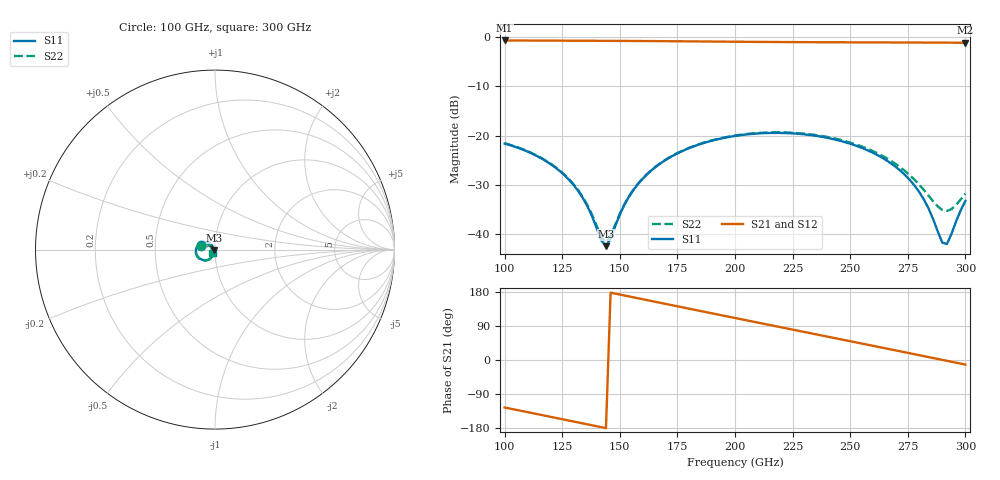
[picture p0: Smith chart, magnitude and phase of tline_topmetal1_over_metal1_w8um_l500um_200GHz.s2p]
#  GHZ S DB R 50
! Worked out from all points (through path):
!   101 points, 100 GHz to 300 GHz, reference 50 ohm
!   highest |S21| = -0.65 dB at 100 GHz (marker M1); lowest = -1.1 dB at 300 GHz (marker M2)
!   group delay of S21, straight-line fit = 3.42 ps
!   lowest |S11| = -42.4 dB at 144 GHz (marker M3), VSWR 1.02, Z = 49.3 - j0.189 ohm
!   |S11| at or under -10 dB: start of sweep to end of sweep
!   |S22| runs from -41.7 to -19.3 dB; largest |S21 - S12| = 1.1e-14
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100  -21.60 163.3  -0.65 -125.3  -0.65 -125.3  -21.53 164.5
120  -25.79 140.7  -0.68 -150.0  -0.68 -150.0  -25.70 142.5
128  -28.98 134.3  -0.70 -159.9  -0.70 -159.9  -28.86 136.5
134  -32.70 133.5  -0.71 -167.4  -0.71 -167.4  -32.52 136.2
142  -41.32 165.7  -0.72 -177.3  -0.72 -177.3  -40.64 168.2
144  -42.45 -165.3  -0.73 -179.8  -0.73 -179.8  -41.69 -165.1
146  -40.93 -137.7  -0.73 177.7  -0.73 177.7  -40.43 -139.1
150  -36.02 -114.2  -0.74 172.7  -0.74 172.7  -35.86 -114.9
154  -32.38 -109.0  -0.75 167.8  -0.75 167.8  -32.30 -108.9
160  -28.71 -110.1  -0.77 160.3  -0.77 160.3  -28.64 -109.4
168  -25.52 -116.4  -0.79 150.4  -0.79 150.4  -25.45 -115.2
182  -22.18 -131.1  -0.84 133.0  -0.84 133.0  -22.11 -129.3
200  -20.06 -151.6  -0.91 110.9  -0.91 110.9  -19.97 -149.1
216  -19.44 -170.1  -0.96 91.2  -0.96 91.2  -19.33 -167.0
234  -19.95 169.2  -1.00 69.2  -1.00 69.2  -19.80 173.4
252  -21.95 149.1  -1.03 47.1  -1.03 47.1  -21.69 155.1
268  -25.73 133.1  -1.06 27.4  -1.06 27.4  -25.20 142.7
280  -31.47 127.0  -1.07 12.6  -1.07 12.6  -29.98 143.2
284  -34.78 130.4  -1.08 7.7  -1.08 7.7  -32.18 150.0
290  -41.74 168.7  -1.09 0.3  -1.09 0.3  -35.10 176.1
292  -42.00 -160.4  -1.09 -2.2  -1.09 -2.2  -35.30 -171.0
300  -33.25 -114.5  -1.11 -12.1  -1.11 -12.1  -31.78 -134.7
